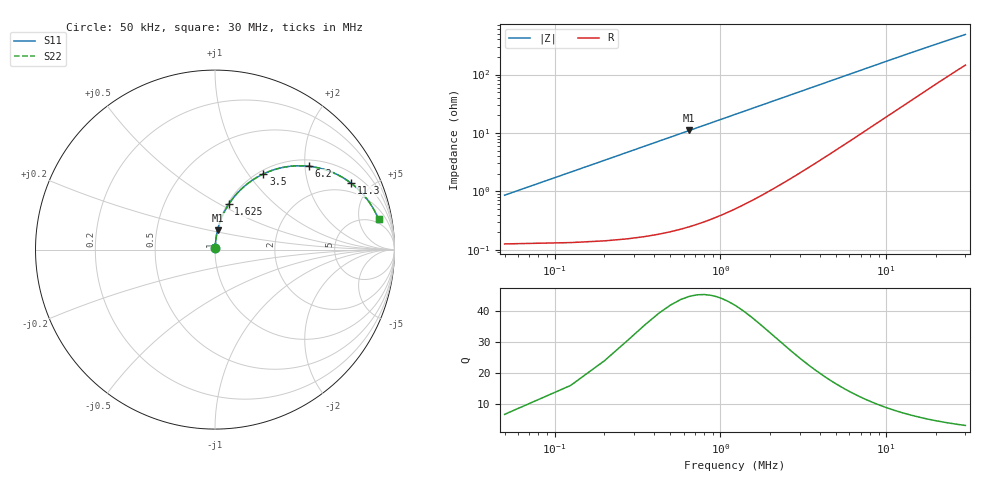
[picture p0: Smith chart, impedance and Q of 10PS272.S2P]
! Coilcraft 1008PS-272 Power Chip Inductor
! 7 October 2002
# MHZ S MA R 50
!Freq  MagS11  AngS11  MagS21  AngS21  MagS12  AngS12  MagS22  AngS22
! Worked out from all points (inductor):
!   401 points, 50 kHz to 30 MHz, reference 50 ohm
!   read as one part in series: L = 2.7 uH near 200 kHz
!   highest Q = 44.5 at 650 kHz (marker M1), where L = 2.7 uH
!   S11 on the Smith chart (normalised r, x): 50 kHz: 1.00, +0.02; 1.625 MHz: 1.01, +0.55; 3.5 MHz: 1.05, +1.19; 6.2 MHz: 1.15, +2.09; 11.3 MHz: 1.47, +3.78; 30 MHz: 4, +9
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0.05  0.008565 81.1  0.9987 -0.5  0.9987 -0.5  0.008565 81.1
0.125  0.02123 85.2  0.9985 -1.2  0.9985 -1.2  0.02123 85.2
0.275  0.04659 85.4  0.9974 -2.7  0.9974 -2.7  0.04659 85.4
0.35  0.05925 85.0  0.9966 -3.4  0.9966 -3.4  0.05925 85.0
0.5  0.08444 83.8  0.9944 -4.8  0.9944 -4.8  0.08444 83.8
0.65  0.1095 82.4  0.9915 -6.3  0.9915 -6.3  0.1095 82.4
0.875  0.1465 80.3  0.986 -8.4  0.986 -8.4  0.1465 80.3
1.1  0.1829 78.1  0.9789 -10.5  0.9789 -10.5  0.1829 78.1
1.325  0.2183 76.0  0.9705 -12.6  0.9705 -12.6  0.2183 76.0
1.625  0.2641 73.1  0.9574 -15.3  0.9574 -15.3  0.2641 73.1
2  0.3186 69.7  0.9383 -18.6  0.9383 -18.6  0.3186 69.7
2.45  0.3793 65.7  0.9122 -22.3  0.9122 -22.3  0.3793 65.7
3.5  0.5008 57.4  0.8433 -30.0  0.8433 -30.0  0.5008 57.4
5.075  0.6333 47.3  0.7361 -39.2  0.7361 -39.2  0.6333 47.3
6.2  0.6992 41.6  0.6658 -44.2  0.6658 -44.2  0.6992 41.6
8  0.7713 34.6  0.5701 -50.2  0.5701 -50.2  0.7713 34.6
10.1  0.8232 28.7  0.4829 -54.9  0.4829 -54.9  0.8232 28.7
11.3  0.8433 26.1  0.4428 -56.8  0.4428 -56.8  0.8433 26.1
15.05  0.8822 20.2  0.3497 -60.5  0.3497 -60.5  0.8822 20.2
20.075  0.9071 15.4  0.2721 -62.5  0.2721 -62.5  0.9071 15.4
25.025  0.9194 12.5  0.2237 -62.8  0.2237 -62.8  0.9194 12.5
30  0.9265 10.5  0.1905 -62.2  0.1905 -62.2  0.9265 10.5
